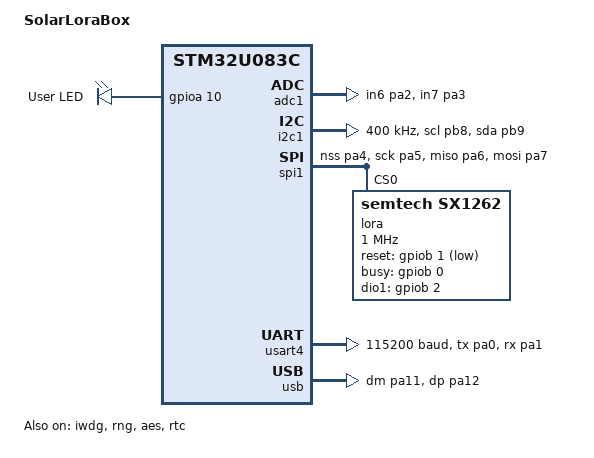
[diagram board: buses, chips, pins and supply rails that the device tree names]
/*
 * Copyright (c) 2024 STMicroelectronics
 *
 * SPDX-License-Identifier: Apache-2.0
 */

/dts-v1/;
#include <st/u0/stm32u083Xc.dtsi>
#include <st/u0/stm32u083mctx-pinctrl.dtsi>
#include <zephyr/dt-bindings/input/input-event-codes.h>
#include <zephyr/dt-bindings/lora/sx126x.h>

/ {
	model = "SolarLoraBox";
	compatible = "st,stm32u083c-dk";

	#address-cells = <1>;
	#size-cells = <1>;

	chosen {
		zephyr,console = &usart4;
		zephyr,shell-uart = &usart4;
		zephyr,sram = &sram0;
		zephyr,flash = &flash0;
	};

	leds: leds {
		compatible = "gpio-leds";
		green_led_1: led_3 {
			gpios = <&gpioa 10 GPIO_ACTIVE_HIGH>;
			label = "User LED";
		};
	};

	aliases {
		led0 = &green_led_1;
		lora0 = &lora;
		adc = &adc1;
	};
};


&iwdg {
	status = "okay";
};

&clk_hsi {
	status = "okay";
};

&clk_hsi48 {
	status = "okay";
};

&clk_lsi {
	status = "okay";
};

&clk_msi {
	status = "okay";
	msi-range = <11>;
	msi-pll-mode;
};


&pll {
	div-m = <1>;
	mul-n = <6>;
	div-p = <2>;
	div-q = <2>;
	div-r = <2>;
	clocks = <&clk_hsi>;
	status = "okay";
};

&rcc {
	clocks = <&pll>;
	clock-frequency = <DT_FREQ_M(48)>;
	ahb-prescaler = <1>;
	apb1-prescaler = <1>;
};

&adc1 {
	pinctrl-0 = <&adc1_in6_pa2 &adc1_in7_pa3>;
	pinctrl-names = "default";
	st,adc-clock-source = "ASYNC";
	clocks = <&rcc STM32_CLOCK_BUS_APB1_2 0x00100000>,
		 <&rcc STM32_SRC_HSI ADC_SEL(2)>;
	st,adc-prescaler = <4>;
	status = "okay";
	vref-mv = <3300>;
};

&i2c1 {
	pinctrl-0 = <&i2c1_scl_pb8 &i2c1_sda_pb9>;
	pinctrl-names = "default";
	status = "okay";
	clock-frequency = <I2C_BITRATE_FAST>;
};

&spi1 {
	pinctrl-0 = <&spi1_nss_pa4 &spi1_sck_pa5 &spi1_miso_pa6 &spi1_mosi_pa7>;
	pinctrl-names = "default";
	status = "okay";
	lora: lora@0 {
		compatible = "semtech,sx1262";
		reg = <0>;
		reset-gpios = <&gpiob 1 GPIO_ACTIVE_LOW>;
		busy-gpios = <&gpiob 0 GPIO_ACTIVE_HIGH>;
		dio1-gpios = <&gpiob 2 GPIO_ACTIVE_HIGH>;
		dio2-tx-enable;
		dio3-tcxo-voltage = <SX126X_DIO3_TCXO_3V3>;
		tcxo-power-startup-delay-ms = <3>;
		spi-max-frequency = <DT_FREQ_M(1)>;
		status = "okay";
	};

};

&usart4 {
	pinctrl-0 = <&usart4_tx_pa0 &usart4_rx_pa1>;
	pinctrl-names = "default";
	current-speed = <115200>;
	status = "okay";
};


zephyr_udc0: &usb {
	clocks = <&rcc STM32_CLOCK(APB1, 13U)>,
		 <&rcc STM32_SRC_HSI48 CLK48_SEL(1)>;
	pinctrl-0 = <&usb_dm_pa11 &usb_dp_pa12>;
	pinctrl-names = "default";
	status = "okay";

	usb_cdc_acm_uart: cdc_acm_uart {
		compatible = "zephyr,cdc-acm-uart";
	};

};
&dma1 {
	status = "okay";
};

&dmamux1 {
	status = "okay";
};

&rng {
	clocks = <&rcc STM32_CLOCK(AHB1, 18U)>,
		<&rcc STM32_SRC_HSI48 CLK48_SEL(1)>;
	status = "okay";
};

&aes {
	status = "okay";
};

&rtc {
	clocks = <&rcc STM32_CLOCK(APB1, 10U)>,
		 <&rcc STM32_SRC_LSE RTC_SEL(1)>;
	status = "okay";
};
